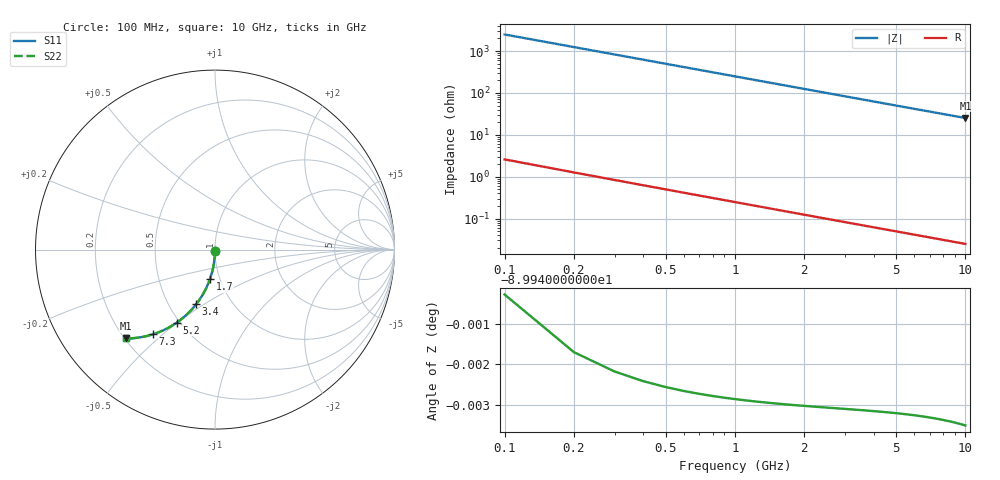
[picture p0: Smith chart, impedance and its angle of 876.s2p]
# Hz S RI R 50.00
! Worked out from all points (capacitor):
!   100 points, 100 MHz to 10 GHz, reference 50 ohm
!   read as one part in shunt: C = 641 fF near 100 MHz
!   lowest |Z| = 25.2 ohm at 10 GHz (marker M1)
!   S11 on the Smith chart (normalised r, x): 100 MHz: 1.00, -0.02; 1.7 GHz: 0.90, -0.30; 3.4 GHz: 0.68, -0.46; 5.2 GHz: 0.48, -0.50; 7.3 GHz: 0.32, -0.46; 10 GHz: 0.20, -0.40
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1e8  -0.000102 -0.01  0.9999 -0.0101  0.9999 -0.0101  -0.000102 -0.01
2e8  -0.000416 -0.02  0.9996 -0.0202  0.9996 -0.0202  -0.000416 -0.02
3e8  -0.000931 -0.03  0.999 -0.0303  0.999 -0.0303  -0.000931 -0.03
4e8  -0.00165 -0.04  0.9983 -0.0404  0.9983 -0.0404  -0.00165 -0.04
5e8  -0.00256 -0.05  0.9974 -0.0504  0.9974 -0.0504  -0.00256 -0.05
6e8  -0.00368 -0.0599  0.9963 -0.0604  0.9963 -0.0604  -0.00368 -0.0599
8e8  -0.0065 -0.0796  0.9935 -0.0803  0.9935 -0.0803  -0.0065 -0.0796
1.1e9  -0.0122 -0.1088  0.9878 -0.1097  0.9878 -0.1097  -0.0122 -0.1088
1.4e9  -0.0195 -0.1374  0.9804 -0.1386  0.9804 -0.1386  -0.0195 -0.1374
1.7e9  -0.0285 -0.1652  0.9715 -0.1667  0.9715 -0.1667  -0.0285 -0.1652
1.8e9  -0.0318 -0.1743  0.9681 -0.1759  0.9681 -0.1759  -0.0318 -0.1743
2.1e9  -0.0428 -0.201  0.9572 -0.2028  0.9572 -0.2028  -0.0428 -0.201
2.5e9  -0.0595 -0.235  0.9405 -0.2371  0.9405 -0.2371  -0.0595 -0.235
2.9e9  -0.0783 -0.2669  0.9217 -0.2694  0.9217 -0.2694  -0.0783 -0.2669
3.4e9  -0.1044 -0.3038  0.8956 -0.3068  0.8956 -0.3068  -0.1044 -0.3038
4.2e9  -0.1507 -0.3554  0.8493 -0.3591  0.8493 -0.3591  -0.1507 -0.3554
5.1e9  -0.207 -0.4024  0.793 -0.4069  0.793 -0.4069  -0.207 -0.4024
5.2e9  -0.2134 -0.4069  0.7866 -0.4115  0.7866 -0.4115  -0.2134 -0.4069
6.7e9  -0.3097 -0.4589  0.6903 -0.4648  0.6903 -0.4648  -0.3097 -0.4589
7.3e9  -0.3472 -0.4723  0.6528 -0.4788  0.6528 -0.4788  -0.3472 -0.4723
8.4e9  -0.4126 -0.4881  0.5873 -0.4956  0.5873 -0.4956  -0.4126 -0.4881
1e10  -0.4982 -0.495  0.5017 -0.504  0.5017 -0.504  -0.4982 -0.495
